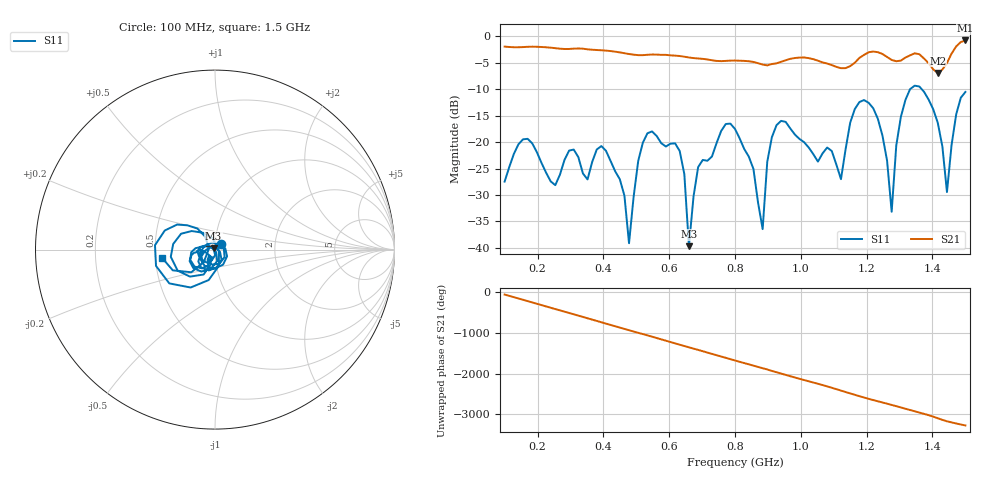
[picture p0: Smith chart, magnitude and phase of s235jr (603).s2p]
! NanoVNA-App
! Date: 2025-09-25 15:08:52
! Start: 100MHz Stop: 1,5GHz Points: 101
! S-Parameter data: F S11 S21 S12 S22
# Hz S RI R 50
!  Frequency  S11_Real  S11_Imag  S21_Real  S21_Imag  S12_Real  S12_Imag  S22_Real  S22_Imag
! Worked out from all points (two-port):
!   101 points, 100 MHz to 1.5 GHz, reference 50 ohm
!   highest |S21| = -0.80 dB at 1.5 GHz (marker M1); lowest = -7.0 dB at 1.416 GHz (marker M2)
!   |S21| within 3 dB of the highest: start of sweep to 638.9 MHz; 1.185 GHz to 1.259 GHz (73.77 MHz wide, 6.04 % of centre) (the widest 2 of 4)
!   lowest |S11| = -39.7 dB at 660 MHz (marker M3), VSWR 1.02, Z = 49.2 + j0.617 ohm
!   |S11| at or under -10 dB: start of sweep to 1.332 GHz; 1.367 GHz to end of sweep
!   S12 and S22 are empty: the file has one direction only
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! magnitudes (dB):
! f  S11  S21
! 100 MHz  -27.5  -2.0
! 170 MHz  -19.4  -2.0
! 338 MHz  -25.9  -2.4
! 408 MHz  -21.6  -2.7
! 478 MHz  -39.1  -3.4
! 520 MHz  -20.1  -3.6
! 576 MHz  -20.2  -3.5
! 632 MHz  -21.7  -3.7
! 660 MHz  -39.7  -4.0
! 688 MHz  -24.7  -4.2
! 800 MHz  -17.5  -4.6
! 884 MHz  -36.4  -5.4
! 926 MHz  -16.8  -5.1
! 1.038 GHz  -22.3  -4.3
! 1.122 GHz  -27.0  -6.0
! 1.206 GHz  -12.6  -3.0
! 1.276 GHz  -33.2  -4.5
! 1.29 GHz  -20.6  -4.7
! 1.332 GHz  -10.0  -3.6
! 1.416 GHz  -16.3  -7.0
! 1.444 GHz  -29.4  -5.1
! 1.5 GHz  -10.5  -0.8
